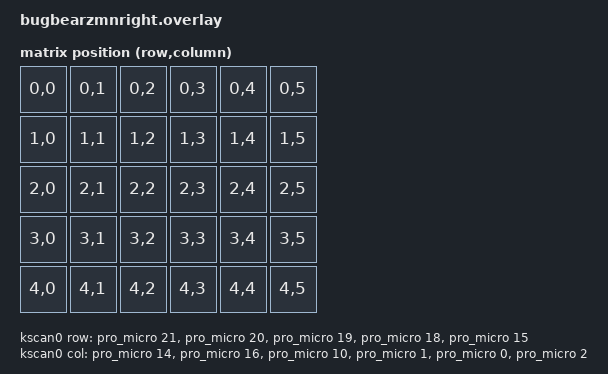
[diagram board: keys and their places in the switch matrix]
/*
 * Copyright (c) 2025 Robin Gosse
 * SPDX-License-Identifier: MIT
 * 
 * PS/2 TrackPoint Configuration for BugBear ZMK Right
 * Using infused-kim's PS/2 driver module
 */

#include <dt-bindings/zmk/matrix_transform.h>

/ {
    chosen {
        zmk,kscan = &kscan0;
        zmk,matrix_transform = &default_transform;
    };

    /* 
     * Standard 5x6 matrix for 30-key layout 
     */
    default_transform: keymap_transform_0 {
        compatible = "zmk,matrix-transform";
        columns = <6>;
        rows = <5>;
        
        map = <
            RC(0,0) RC(0,1) RC(0,2) RC(0,3) RC(0,4) RC(0,5)
            RC(1,0) RC(1,1) RC(1,2) RC(1,3) RC(1,4) RC(1,5)
            RC(2,0) RC(2,1) RC(2,2) RC(2,3) RC(2,4) RC(2,5)
            RC(3,0) RC(3,1) RC(3,2) RC(3,3) RC(3,4) RC(3,5)
            RC(4,0) RC(4,1) RC(4,2) RC(4,3) RC(4,4) RC(4,5)
        >;
    };

    /* 
     * Matrix scanning configuration
     * Adjust row/col pins for your actual hardware
     */
    kscan0: kscan {
        compatible = "zmk,kscan-gpio-matrix";
        diode-direction = "col2row";
        
        // EXAMPLE row/col pins - ADJUST THESE FOR YOUR HARDWARE
        row-gpios
            = <&pro_micro 21 (GPIO_ACTIVE_HIGH | GPIO_PULL_DOWN)>  // Row 0
            , <&pro_micro 20 (GPIO_ACTIVE_HIGH | GPIO_PULL_DOWN)>  // Row 1
            , <&pro_micro 19 (GPIO_ACTIVE_HIGH | GPIO_PULL_DOWN)>  // Row 2
            , <&pro_micro 18 (GPIO_ACTIVE_HIGH | GPIO_PULL_DOWN)>  // Row 3
            , <&pro_micro 15 (GPIO_ACTIVE_HIGH | GPIO_PULL_DOWN)>  // Row 4
            ;
        
        col-gpios
            = <&pro_micro 14 GPIO_ACTIVE_HIGH>  // Col 0
            , <&pro_micro 16 GPIO_ACTIVE_HIGH>  // Col 1
            , <&pro_micro 10 GPIO_ACTIVE_HIGH>  // Col 2
            , <&pro_micro 1  GPIO_ACTIVE_HIGH>  // Col 3
            , <&pro_micro 0  GPIO_ACTIVE_HIGH>  // Col 4
            , <&pro_micro 2  GPIO_ACTIVE_HIGH>  // Col 5
            ;
    };
};

/*
 * ============================================================================
 * PS/2 TRACKPOINT UART DRIVER CONFIGURATION
 * ============================================================================
 * 
 * TrackPoint connected to:
 * - CLK (Clock) on pin 9 (P0.06 on nice!nano)
 * - DATA on pin 8 (P0.08 on nice!nano)
 * 
 * The UART driver provides better performance than GPIO bit-banging
 */

/* Configure pinctrl for UART functionality on PS/2 pins */
&pinctrl {
    /* 
     * UART RX pin configuration for PS/2 DATA line
     * Using pin 8 (P0.08) 
     */
    uart0_default: uart0_default {
        group1 {
            psels = <NRF_PSEL(UART_RX, 0, 8)>;  // DATA on P0.08 (nice!nano pin 8)
        };
    };

    uart0_sleep: uart0_sleep {
        group1 {
            psels = <NRF_PSEL(UART_RX, 0, 8)>;
            low-power-enable;
        };
    };
};

/* 
 * Configure UART0 for PS/2 communication
 * Baud rate must match TrackPoint's clock frequency
 * Most TrackPoints use ~14,925 baud, closest UART rate is 14,400
 */
&uart0 {
    compatible = "nordic,nrf-uarte";
    status = "okay";
    
    /* Apply pinctrl configuration */
    pinctrl-0 = <&uart0_default>;
    pinctrl-1 = <&uart0_sleep>;
    pinctrl-names = "default", "sleep";
    
    /* 
     * Baud rate for PS/2 communication
     * 14400 works for most TrackPoints
     * If your TrackPoint doesn't work, try 19200 or 9600
     */
    current-speed = <14400>;
    
    /* PS/2 device node */
    trackpoint: trackpoint {
        compatible = "zmk,input-ps2";
        
        /* 
         * Clock and Data pins
         * SCL = Clock on pin 9 (P0.06)
         * SDA = Data on pin 8 (P0.08)
         */
        scl-gpios = <&gpio0 6 GPIO_ACTIVE_HIGH>;  // CLK on P0.06 (nice!nano pin 9)
        sda-gpios = <&gpio0 8 GPIO_ACTIVE_HIGH>;  // DATA on P0.08 (nice!nano pin 8)
        
        /* 
         * Optional: Reset pin for TrackPoint Power-On-Reset
         * If you have a hardware reset circuit, comment this out
         * Using pin 7 (P0.11) for reset
         */
        // rst-gpios = <&gpio0 11 GPIO_ACTIVE_HIGH>;  // RST on P0.11 (nice!nano pin 7)
    };
};

/* 
 * Input listener to convert PS/2 events to ZMK mouse input
 * This is what actually makes the mouse cursor move
 */
/ {
    trackpoint_listener: trackpoint_listener {
        compatible = "zmk,input-listener";
        status = "okay";
        
        /* Link to the trackpoint device */
        device = <&trackpoint>;
        
        /* 
         * Optional: Configure axis behavior
         * Uncomment and adjust if your trackpoint moves in the wrong direction
         */
        // xy-swap;           // Swap X and Y axes
        // x-invert;          // Invert X axis
        // y-invert;          // Invert Y axis
        
        /* 
         * Optional: Scale factor for movement (1-255)
         * Higher = more sensitive
         * Default is usually good for most TrackPoints
         */
        // scale-multiplier = <1>;
        // scale-divisor = <1>;
    };
};

/*
 * ============================================================================
 * ALTERNATIVE: GPIO BIT-BANGING DRIVER (if UART doesn't work)
 * ============================================================================
 * 
 * If the UART driver doesn't work with your TrackPoint (wrong clock frequency),
 * you can try the GPIO bit-banging driver instead.
 * 
 * To enable:
 * 1. Comment out all the &uart0 and &pinctrl sections above
 * 2. Uncomment the section below
 * 3. In your .conf file, change CONFIG_PS2_UART_ENABLE=y to CONFIG_PS2_GPIO_ENABLE=y
 */

/*
/ {
    trackpoint_gpio: trackpoint_gpio {
        compatible = "zmk,input-ps2-gpio";
        status = "okay";
        
        scl-gpios = <&gpio0 6 GPIO_ACTIVE_HIGH>;  // CLK on P0.06 (nice!nano pin 9)
        sda-gpios = <&gpio0 8 GPIO_ACTIVE_HIGH>;  // DATA on P0.08 (nice!nano pin 8)
        
        // Optional: Reset pin
        // rst-gpios = <&gpio0 11 GPIO_ACTIVE_HIGH>;  // RST on P0.11 (nice!nano pin 7)
    };
};

/ {
    trackpoint_listener_gpio: trackpoint_listener_gpio {
        compatible = "zmk,input-listener";
        status = "okay";
        device = <&trackpoint_gpio>;
    };
};
*/
